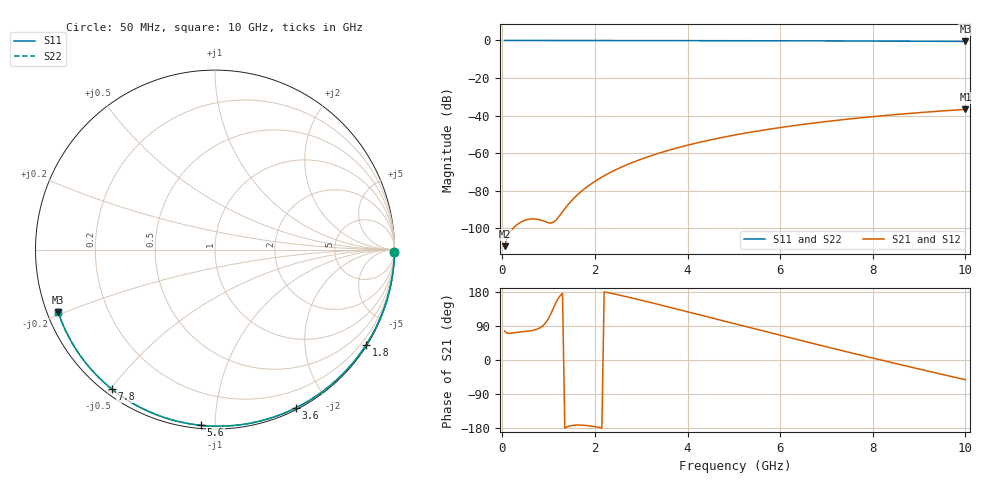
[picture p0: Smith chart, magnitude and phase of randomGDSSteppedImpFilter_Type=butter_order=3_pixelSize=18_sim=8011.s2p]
! freq	dB(S11)	phase(S11)	dB(S12)	phase(S12)
!  dB(S21)	phase(S21)	dB(S22)	phase(S22)
!S-par simulation data
#  GHz  S  DB  R 50
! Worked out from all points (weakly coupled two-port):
!   200 points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, 50 MHz to 10 GHz, reference 50 ohm
!   highest |S21| = -36.69 dB at 10 GHz (marker M1); lowest = -109.5 dB at 50 MHz (marker M2)
!   lowest |S11| = -0.5 dB at 10 GHz (marker M3), VSWR 32.62, Z = 1.59 - j9.61 ohm
!   |S11| at or under -10 dB: nowhere
!   |S22| runs from -0.5 to 0.0 dB; largest |S21 - S12| = 0
!   S11 on the Smith chart (normalised r, x): 50 MHz: open; 1.8 GHz: 0.03, -3.45; 3.6 GHz: 0.02, -1.63; 5.6 GHz: 0.02, -0.92; 7.8 GHz: 0.02, -0.50; 10 GHz: 0.03, -0.19
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0.05  -0.00 -0.9  -109.47 76.5  -109.47 76.5  -0.00 -0.9
0.45  -0.01 -8.2  -96.09 74.6  -96.09 74.6  -0.01 -8.2
0.9  -0.02 -16.4  -96.18 93.1  -96.18 93.1  -0.02 -16.4
1.7  -0.04 -30.6  -80.43 -171.7  -80.43 -171.7  -0.04 -30.6
1.75  -0.04 -31.5  -79.41 -172.1  -79.41 -172.1  -0.04 -31.5
1.8  -0.04 -32.4  -78.44 -172.6  -78.44 -172.6  -0.04 -32.4
2.1  -0.05 -37.6  -73.44 -177.9  -73.44 -177.9  -0.05 -37.6
2.3  -0.05 -41.1  -70.67 177.4  -70.67 177.4  -0.05 -41.1
2.5  -0.06 -44.5  -68.24 172.1  -68.24 172.1  -0.06 -44.5
2.9  -0.07 -51.3  -64.08 160.7  -64.08 160.7  -0.07 -51.4
3.4  -0.08 -59.7  -59.86 145.7  -59.86 145.7  -0.08 -59.7
3.6  -0.08 -63.0  -58.39 139.5  -58.39 139.5  -0.08 -63.0
4.3  -0.11 -74.3  -53.97 117.8  -53.97 117.8  -0.11 -74.3
5.05  -0.13 -86.1  -50.19 94.4  -50.19 94.4  -0.13 -86.1
5.6  -0.16 -94.5  -47.86 77.4  -47.86 77.4  -0.16 -94.5
6.15  -0.18 -102.7  -45.82 60.5  -45.82 60.5  -0.18 -102.7
6.7  -0.22 -110.8  -44.03 43.8  -44.03 43.8  -0.22 -110.8
7.25  -0.25 -118.7  -42.43 27.3  -42.43 27.3  -0.25 -118.7
7.8  -0.30 -126.6  -41.01 11.0  -41.01 11.0  -0.30 -126.6
8.35  -0.35 -134.4  -39.75 -5.1  -39.75 -5.1  -0.35 -134.4
9.2  -0.43 -146.6  -38.04 -29.6  -38.04 -29.6  -0.43 -146.6
10  -0.53 -158.2  -36.69 -52.0  -36.69 -52.0  -0.53 -158.2
